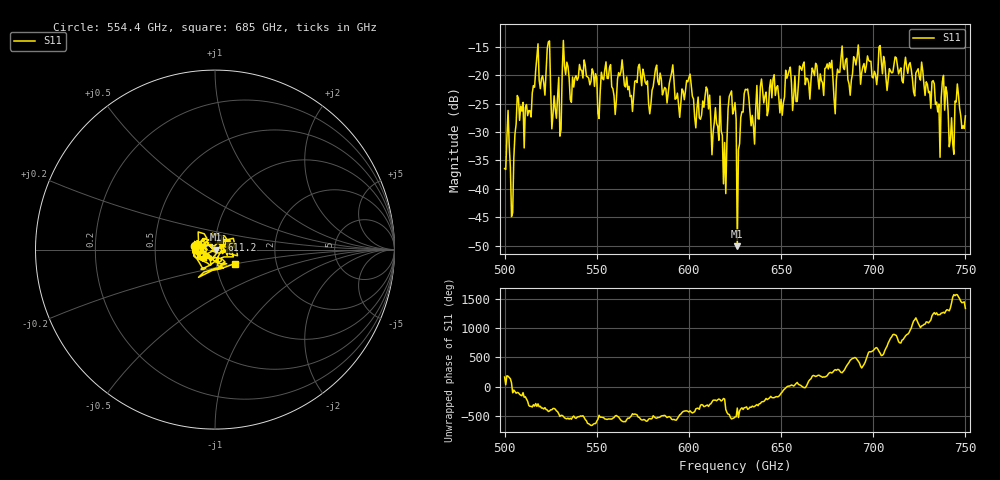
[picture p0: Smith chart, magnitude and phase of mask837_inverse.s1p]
!Created with skrf (http://scikit-rf.org).
# GHz S MA R 50.0
!freq magS11 angS11
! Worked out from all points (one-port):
!   401 points, 500 GHz to 750 GHz, reference 50 ohm
!   lowest |S11| = -50.0 dB at 626.2 GHz (marker M1), VSWR 1.01, Z = 50.3 - j0.0232 ohm
!   |S11| at or under -10 dB: start of sweep to end of sweep
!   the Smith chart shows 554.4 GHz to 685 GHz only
!   S11 on the Smith chart (normalised r, x): 554.4 GHz: 0.80, +0.03; 611.2 GHz: 1.07, +0.12; 685 GHz: 1.23, -0.20
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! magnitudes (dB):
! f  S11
! 500 GHz  -36.4
! 504.4 GHz  -44.2
! 507.5 GHz  -24.1
! 513.8 GHz  -26.3
! 516.9 GHz  -19.2
! 523.8 GHz  -14.2
! 526.9 GHz  -23.7
! 531.2 GHz  -19.6
! 554.4 GHz  -19.0
! 562.5 GHz  -20.1
! 593.8 GHz  -23.2
! 600 GHz  -20.5
! 611.2 GHz  -23.5
! 619.4 GHz  -31.8
! 623.1 GHz  -22.8
! 625 GHz  -24.8
! 626.2 GHz  -50.0
! 631.2 GHz  -22.6
! 634.4 GHz  -27.1
! 656.2 GHz  -26.2
! 685 GHz  -17.4
! 687.5 GHz  -23.5
! 718.8 GHz  -19.7
! 735 GHz  -26.5
! 738.8 GHz  -26.2
! 742.5 GHz  -27.5
! 745.6 GHz  -21.6
! 750 GHz  -27.2
